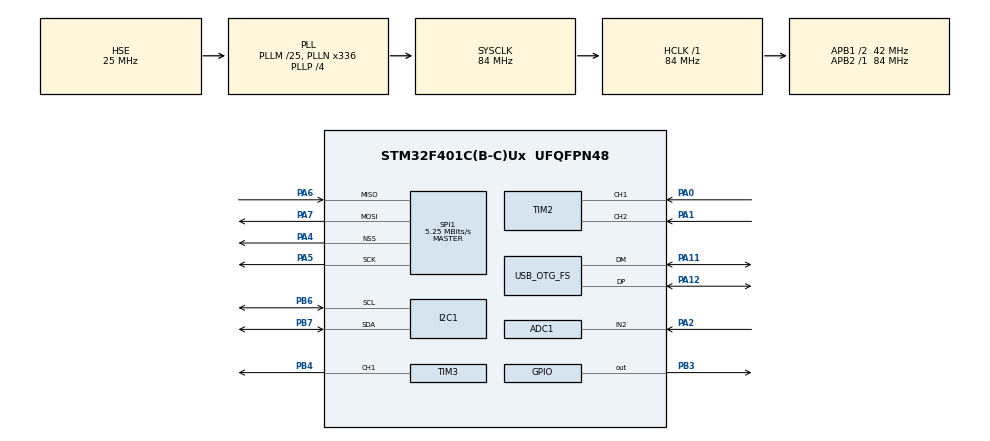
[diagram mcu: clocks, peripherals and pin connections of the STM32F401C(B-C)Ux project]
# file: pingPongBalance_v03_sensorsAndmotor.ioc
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ADC1.Channel-0\#ChannelRegularConversion=ADC_CHANNEL_2
ADC1.ContinuousConvMode=ENABLE
ADC1.DMAContinuousRequests=ENABLE
ADC1.EOCSelection=ADC_EOC_SEQ_CONV
ADC1.NbrOfConversion=1
ADC1.NbrOfConversionFlag=1
ADC1.Rank-0\#ChannelRegularConversion=1
ADC1.SamplingTime-0\#ChannelRegularConversion=ADC_SAMPLETIME_3CYCLES
ADC1.master=1
Dma.ADC1.0.Direction=DMA_PERIPH_TO_MEMORY
Dma.ADC1.0.FIFOMode=DMA_FIFOMODE_DISABLE
Dma.ADC1.0.Instance=DMA2_Stream0
Dma.ADC1.0.MemDataAlignment=DMA_MDATAALIGN_HALFWORD
Dma.ADC1.0.MemInc=DMA_MINC_ENABLE
Dma.ADC1.0.Mode=DMA_CIRCULAR
Dma.ADC1.0.PeriphDataAlignment=DMA_PDATAALIGN_HALFWORD
Dma.ADC1.0.PeriphInc=DMA_PINC_DISABLE
Dma.ADC1.0.Priority=DMA_PRIORITY_LOW
Dma.I2C1_TX.1.Direction=DMA_MEMORY_TO_PERIPH
Dma.I2C1_TX.1.FIFOMode=DMA_FIFOMODE_DISABLE
Dma.I2C1_TX.1.Instance=DMA1_Stream6
Dma.I2C1_TX.1.MemDataAlignment=DMA_MDATAALIGN_BYTE
Dma.I2C1_TX.1.MemInc=DMA_MINC_ENABLE
Dma.I2C1_TX.1.Mode=DMA_NORMAL
Dma.I2C1_TX.1.PeriphDataAlignment=DMA_PDATAALIGN_BYTE
Dma.I2C1_TX.1.PeriphInc=DMA_PINC_DISABLE
Dma.I2C1_TX.1.Priority=DMA_PRIORITY_LOW
Dma.Request0=ADC1
Dma.Request1=I2C1_TX
Dma.Request2=SPI1_RX
Dma.Request3=SPI1_TX
Dma.SPI1_RX.2.Direction=DMA_PERIPH_TO_MEMORY
Dma.SPI1_RX.2.FIFOMode=DMA_FIFOMODE_DISABLE
Dma.SPI1_RX.2.Instance=DMA2_Stream2
Dma.SPI1_RX.2.MemDataAlignment=DMA_MDATAALIGN_BYTE
Dma.SPI1_RX.2.MemInc=DMA_MINC_ENABLE
Dma.SPI1_RX.2.Mode=DMA_NORMAL
Dma.SPI1_RX.2.PeriphDataAlignment=DMA_PDATAALIGN_BYTE
Dma.SPI1_RX.2.PeriphInc=DMA_PINC_DISABLE
Dma.SPI1_RX.2.Priority=DMA_PRIORITY_LOW
Dma.SPI1_TX.3.Direction=DMA_MEMORY_TO_PERIPH
Dma.SPI1_TX.3.FIFOMode=DMA_FIFOMODE_DISABLE
Dma.SPI1_TX.3.Instance=DMA2_Stream3
Dma.SPI1_TX.3.MemDataAlignment=DMA_MDATAALIGN_BYTE
Dma.SPI1_TX.3.MemInc=DMA_MINC_ENABLE
Dma.SPI1_TX.3.Mode=DMA_NORMAL
Dma.SPI1_TX.3.PeriphDataAlignment=DMA_PDATAALIGN_BYTE
Dma.SPI1_TX.3.PeriphInc=DMA_PINC_DISABLE
Dma.SPI1_TX.3.Priority=DMA_PRIORITY_LOW
I2C1.I2C_Mode=I2C_Fast
Mcu.Family=STM32F4
Mcu.Name=STM32F401C(B-C)Ux
Mcu.Package=UFQFPN48
NVIC.ADC_IRQn=true\:0\:0\:false\:false\:true\:true\:true\:true
NVIC.DMA1_Stream6_IRQn=true\:0\:0\:false\:false\:true\:false\:true\:true
NVIC.DMA2_Stream0_IRQn=true\:0\:0\:false\:false\:true\:false\:true\:true
NVIC.DMA2_Stream2_IRQn=true\:0\:0\:false\:false\:true\:false\:true\:true
NVIC.DMA2_Stream3_IRQn=true\:0\:0\:false\:false\:true\:false\:true\:true
NVIC.I2C1_EV_IRQn=true\:0\:0\:false\:false\:true\:true\:true\:true
NVIC.OTG_FS_IRQn=true\:0\:0\:false\:false\:true\:false\:true\:true
NVIC.PriorityGroup=NVIC_PRIORITYGROUP_4
NVIC.SPI1_IRQn=true\:0\:0\:false\:false\:true\:true\:true\:true
NVIC.TIM1_TRG_COM_TIM11_IRQn=true\:15\:0\:false\:false\:true\:false\:true\:true
NVIC.TIM1_UP_TIM10_IRQn=true\:0\:0\:false\:false\:true\:true\:true\:true
NVIC.TimeBase=TIM1_TRG_COM_TIM11_IRQn
NVIC.TimeBaseIP=TIM11
PA0-WKUP.Signal=S_TIM2_CH1_ETR
PA1.Signal=S_TIM2_CH2
PA11.Mode=Device_Only
PA11.Signal=USB_OTG_FS_DM
PA12.Mode=Device_Only
PA12.Signal=USB_OTG_FS_DP
PA2.Signal=SharedAnalog_PA2
PA4.Mode=NSS_Signal_Hard_Output
PA4.Signal=SPI1_NSS
PA5.Mode=Full_Duplex_Master
PA5.Signal=SPI1_SCK
PA6.Mode=Full_Duplex_Master
PA6.Signal=SPI1_MISO
PA7.Mode=Full_Duplex_Master
PA7.Signal=SPI1_MOSI
PB3.Signal=GPIO_Output
PB4.Signal=S_TIM3_CH1
PB6.Mode=I2C
PB6.Signal=I2C1_SCL
PB7.Mode=I2C
PB7.Signal=I2C1_SDA
PC14-OSC32_IN.Mode=LSE-External-Oscillator
PC14-OSC32_IN.Signal=RCC_OSC32_IN
PC15-OSC32_OUT.Mode=LSE-External-Oscillator
PC15-OSC32_OUT.Signal=RCC_OSC32_OUT
PH0\ -\ OSC_IN.Mode=HSE-External-Oscillator
PH0\ -\ OSC_IN.Signal=RCC_OSC_IN
PH1\ -\ OSC_OUT.Mode=HSE-External-Oscillator
PH1\ -\ OSC_OUT.Signal=RCC_OSC_OUT
ProjectManager.HeapSize=0x200
ProjectManager.StackSize=0x400
ProjectManager.TargetToolchain=STM32CubeIDE
RCC.48MHZClocksFreq_Value=48000000
RCC.AHBFreq_Value=84000000
RCC.APB1CLKDivider=RCC_HCLK_DIV2
RCC.APB1Freq_Value=42000000
RCC.APB1TimFreq_Value=84000000
RCC.APB2Freq_Value=84000000
RCC.APB2TimFreq_Value=84000000
RCC.CortexFreq_Value=84000000
RCC.HCLKFreq_Value=84000000
RCC.HSE_VALUE=25000000
RCC.HSI_VALUE=16000000
RCC.PLLM=25
RCC.PLLN=336
RCC.PLLP=RCC_PLLP_DIV4
RCC.PLLQ=7
RCC.RCC_RTC_Clock_Source=RCC_RTCCLKSOURCE_LSE
RCC.RCC_RTC_Clock_SourceVirtual=RCC_RTCCLKSOURCE_LSE
RCC.SYSCLKFreq_VALUE=84000000
RCC.SYSCLKSource=RCC_SYSCLKSOURCE_PLLCLK
RCC.VCOOutputFreq_Value=336000000
SH.S_TIM2_CH1_ETR.0=TIM2_CH1,Encoder_Interface
SH.S_TIM2_CH2.0=TIM2_CH2,Encoder_Interface
SH.S_TIM3_CH1.0=TIM3_CH1,PWM Generation1 CH1
SH.SharedAnalog_PA2.0=GPIO_Analog
SH.SharedAnalog_PA2.1=ADC1_IN2,IN2
SPI1.BaudRatePrescaler=SPI_BAUDRATEPRESCALER_16
SPI1.CalculateBaudRate=5.25 MBits/s
SPI1.Direction=SPI_DIRECTION_2LINES
SPI1.Mode=SPI_MODE_MASTER
SPI1.VirtualNSS=VM_NSSHARD
SPI1.VirtualType=VM_MASTER
TIM10.Period=41999
TIM3.Channel-PWM\ Generation1\ CH1=TIM_CHANNEL_1
TIM3.Period=4199
USB_DEVICE.CLASS_NAME_FS=CDC
USB_DEVICE.VirtualMode=Cdc
USB_DEVICE.VirtualModeFS=Cdc_FS
USB_OTG_FS.VirtualMode=Device_Only
VP_CRC_VS_CRC.Mode=CRC_Activate
VP_SYS_VS_tim11.Mode=TIM11
VP_TIM10_VS_ClockSourceINT.Mode=Enable_Timer
VP_USB_DEVICE_VS_USB_DEVICE_CDC_FS.Mode=CDC_FS
board=custom

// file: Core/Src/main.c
/* USER CODE BEGIN Header */
/**
  ******************************************************************************
  * @file           : main.c
  * @brief          : Main program body
  ******************************************************************************
  * @attention
  *
  * Copyright (c) 2025 STMicroelectronics.
  * All rights reserved.
  *
  * This software is licensed under terms that can be found in the LICENSE file
  * in the root directory of this software component.
  * If no LICENSE file comes with this software, it is provided AS-IS.
  *
  ******************************************************************************
  */
/* USER CODE END Header */
#include "main.h"
#include "usb_device.h"

/* USER CODE BEGIN Includes */
#include "dist_adc.h"
#include "ssd1306.h"
#include "fonts.h"
#include "mt6816.h"
#include "encoder_speed.h"
#include "motor_driver.h"
#include "virtual_wall.h"
#include <math.h>
#include "usbd_cdc_if.h"
#include "pid.h"
#include "usb_telemetry.h"
/* USER CODE END Includes */

/* USER CODE BEGIN PD */
extern uint8_t CDC_Transmit(const void* Buf, uint32_t Len);
/* USER CODE END PD */

ADC_HandleTypeDef hadc1;
DMA_HandleTypeDef hdma_adc1;

CRC_HandleTypeDef hcrc;

I2C_HandleTypeDef hi2c1;
DMA_HandleTypeDef hdma_i2c1_tx;

SPI_HandleTypeDef hspi1;
DMA_HandleTypeDef hdma_spi1_rx;
DMA_HandleTypeDef hdma_spi1_tx;

TIM_HandleTypeDef htim2;
TIM_HandleTypeDef htim3;
TIM_HandleTypeDef htim10;

void SystemClock_Config(void);
static void MX_GPIO_Init(void);
static void MX_DMA_Init(void);
static void MX_CRC_Init(void);
static void MX_I2C1_Init(void);
static void MX_SPI1_Init(void);
static void MX_TIM2_Init(void);
static void MX_TIM3_Init(void);
static void MX_ADC1_Init(void);
static void MX_TIM10_Init(void);

/* USER CODE BEGIN 0 */
#define ANGLE_MIN_DEG   -25.0f
#define ANGLE_MAX_DEG    25.0f
#define MOTOR_TO_ANGLE_SIGN   (+1)
MotorDriver_HandleTypeDef motor;

EncoderSpeed_Handle_t enc;
uint16_t mt6816_zero = 8344 & 0x3FFF; //Set Zero position here
MT6816_Handle_t mt6816;

#define ADC_DMA_LEN  64
static uint16_t adc_dma_buf[ADC_DMA_LEN];
static AdcDistance_t adcDist;

PID_TypeDef pidAng;

static const float DEFAULT_ANG_KP = 0.02115f;
static const float DEFAULT_ANG_KI = 0.02104f;
static const float DEFAULT_ANG_KD = 0.0001710f;

static float x_prev = 0.0f;
static float xdot_f = 0.0f;

static float th_prev = 0.0f;
static float thdot_f = 0.0f;

// derivative LPF strength (0..1). Higher = more responsive, noisier.
static const float DERIV_ALPHA = 0.25f;
static const float DT = 0.01f; // 10 ms tick

// Inner PID (angle)
double ang_in = 0.0, ang_out = 0.0, ang_sp = 0.0;  // ang_out = motor cmd [-1..+1]

// Start gains (tune later)
static double Kp_ang = DEFAULT_ANG_KP, Ki_ang = DEFAULT_ANG_KI, Kd_ang = DEFAULT_ANG_KD;   // degrees -> cmd

int findCharPosition(const char *buffer, size_t size, char character) {
    for (size_t i = 0; i < size; ++i) {
        if (buffer[i] == character) {
            return (int)i;
        }
    }
    return -1; // '\r' not found
}

void USB_CDC_RxHandler(uint8_t* buf, uint32_t len)
{
	USB_Command_Process(buf, len);
}

void HAL_I2C_MemTxCpltCallback(I2C_HandleTypeDef *hi2c) {
    ssd1306_I2C_TxCpltCallback(hi2c);
}

static void OLED_Render(float V, float P, float A, float R)
{
    char buf[32];

    ssd1306_Fill(Black);

    // Title
    ssd1306_SetCursor(0, 0);
    ssd1306_WriteString("Ball Beam", Font_11x18, White);

    // Second line: V
    ssd1306_SetCursor(0, 16);
    snprintf(buf, sizeof(buf), "V = %.3f V", V);
    ssd1306_WriteString(buf, Font_7x10, White);

    // Third line: P
    ssd1306_SetCursor(0, 28);
    snprintf(buf, sizeof(buf), "P = %.3f", P);
    ssd1306_WriteString(buf, Font_7x10, White);

    // Fourth line: A
    ssd1306_SetCursor(0, 40);
    snprintf(buf, sizeof(buf), "A = %.3f deg", A);
    ssd1306_WriteString(buf, Font_7x10, White);

    // Fifth line: R
    ssd1306_SetCursor(0, 52);
    snprintf(buf, sizeof(buf), "R = %.3f rad/s", R);
    ssd1306_WriteString(buf, Font_7x10, White);

    // Start non-blocking DMA flush (returns immediately)
    (void)ssd1306_UpdateScreen_DMA(&hi2c1);
}

void HAL_SPI_TxRxCpltCallback(SPI_HandleTypeDef * hspi)
{
//		absEnc_spiDone = 1;// TX-RX Done
		MT6816_SpiTxRxCpltCallback(&mt6816, hspi);
}

int32_t MT6816_GetZeroed_Int32(uint16_t raw14)
{
    // 1) Force to 14-bit
    uint16_t raw = raw14 & 0x3FFF;

    // 2) Zero with wrap in 14 bits
    uint16_t z = (raw - mt6816_zero) & 0x3FFF;   // 0..16383

    // 3) Convert to signed around 0
    //    0..8191  ->  0..8191
    //    8192..16383 -> -8192..-1
    if (z >= 8192U)
        return (int32_t)z - 16384;   // 16384 = 1 << 14
    else
        return (int32_t)z;
}
/* USER CODE END 0 */

int main(void)
{

  /* MCU Configuration--------------------------------------------------------*/

  /* Reset of all peripherals, Initializes the Flash interface and the Systick. */
  HAL_Init();

  /* Configure the system clock */
  SystemClock_Config();

  /* Initialize all configured peripherals */
  MX_GPIO_Init();
  MX_DMA_Init();
  MX_CRC_Init();
  MX_USB_DEVICE_Init();
  MX_I2C1_Init();
  MX_SPI1_Init();
  MX_TIM2_Init();
  MX_TIM3_Init();
  MX_ADC1_Init();
  MX_TIM10_Init();
  /* USER CODE BEGIN 2 */
  //Motor driver init
  uint32_t period = __HAL_TIM_GET_AUTORELOAD(&htim3);
  MotorDriver_Init(&motor,
                   &htim3,
                   TIM_CHANNEL_1,
                   GPIOB,
                   GPIO_PIN_3,
                   period,
                   GPIO_PIN_RESET);   // "forward" = pin low
  MotorDriver_Start(&motor);

  //Timer encoder counter init
  HAL_TIM_Encoder_Start(&htim2, TIM_CHANNEL_ALL);
  EncoderSpeed_Init(&enc, &htim2,
                        98u,      // counts_per_rev
                        14.0f,      // gear_ratio
                        0.001f);    // dt_s (TIM10 period)
  EncoderSpeed_SetLowPass(&enc, 2.0f);     // Hz cutoff
  HAL_TIM_Base_Start_IT(&htim10);

  //Abs enc command building
  MT6816_Init(&mt6816, &hspi1, 5);

  // Init lcd using one of the stm32HAL i2c typedefs
  if (ssd1306_Init(&hi2c1) != 0) {
    Error_Handler();
  }
  HAL_Delay(1000);

  ssd1306_Fill(Black);
  if (!ssd1306_IsBusy()) {
      // draw text into SSD1306_Buffer...
      ssd1306_UpdateScreen_DMA(&hi2c1);
  }

  HAL_Delay(1000);

  // Preset scaling:
  // we want distance = 0..1 over that window, inverted (near=1, far=0), with mild nonlinearity.

  AdcDist_Init(&adcDist, &hadc1,
               adc_dma_buf, ADC_DMA_LEN,
			   /* v_ref */ 3.3f,
			   /* adc_bits */ 12,
               /* v_low */ 0.64f,
               /* v_mid */ 1.84f,   // if not between low & high, it will auto-set to midpoint
               /* v_high*/ 2.97f,
               /* invert */ 0,
               /* gamma  */ 1.0f,
               /* compute_period_ms (unused) */ 0);
  AdcDist_SetFilterAlpha(&adcDist, 0.1);
//  AdcDist_SetMedianWindow(&adcDist, 5);
  AdcDist_Start(&adcDist);

  // Inner: angle -> motor command [-1..+1]

  g_ang_kp = DEFAULT_ANG_KP;
  g_ang_ki = DEFAULT_ANG_KI;
  g_ang_kd = DEFAULT_ANG_KD;

  PID2(&pidAng,
       &ang_in,
       &ang_out,
       &ang_sp,
       Kp_ang, Ki_ang, Kd_ang,
       _PID_CD_DIRECT);

  PID_SetOutputLimits(&pidAng, -1.0, 1.0);  // start limited while tuning
  pidAng.SampleTime = 10;                     // inner faster (100 Hz)
  PID_SetMode(&pidAng, _PID_MODE_AUTOMATIC);

  // Targets
  ang_sp = 0.0;

  uint32_t last_print = HAL_GetTick();
  uint32_t last_motorStep = HAL_GetTick();
  /* USER CODE END 2 */

  /* Infinite loop */
  while (1)
  {

    /* USER CODE BEGIN 3 */
    uint32_t now = HAL_GetTick();
//    AdcDist_Update(&adcDist);
    MT6816_Update(&mt6816, now);
    /////////////////////////////

    if (now - last_print >= 20)
    {

	  last_print = now;
	  float v = AdcDist_GetVoltage(&adcDist);
	  float d = 2*AdcDist_GetDistance(&adcDist)-1; //0-1, scaled to -1 to 1;

	  uint16_t A_raw;
	  MT6816_GetRaw(&mt6816, &A_raw);
	  float A = MT6816_GetZeroed_Int32(A_raw)*(360.0/16384.0);

	  float r = EncoderSpeed_GetOutputRadPerSecFilt(&enc);

	  if (!ssd1306_IsBusy()) {
	      OLED_Render(v, d, A, r);
	  }

    }
    if (now - last_motorStep >= 10)
    {
    	last_motorStep = now;
    	uint8_t buf[64];
    	// ---- 1) Update sensors ----
    	AdcDist_Update(&adcDist);
    	float x_norm = 2.0f * AdcDist_GetDistance(&adcDist) - 1.0f;  // [-1..+1]
    	float x_m    = -0.1375f * x_norm;                               // [-0.15..+0.15] meters (sign convention changed)

    	// ---- 2) Beam angle ----
    	uint16_t A_raw;
    	MT6816_GetRaw(&mt6816, &A_raw);
    	float th_deg = MT6816_GetZeroed_Int32(A_raw) * (360.0f / 16384.0f);

    	// ---- 3) Velocities (dirty derivative + LPF) ----
    	float xdot = (x_m - x_prev) / DT;     // <-- use meters
    	xdot_f = xdot_f + DERIV_ALPHA * (xdot - xdot_f);
    	x_prev = x_m;

    	float thdot_deg = (th_deg - th_prev) / DT;
    	thdot_f = thdot_f + DERIV_ALPHA * (thdot_deg - thdot_f);
    	th_prev = th_deg;

    	// ---- 4) Get latest RL command (timeout safety) ----
    	extern volatile float g_thsp_cmd;
    	extern volatile uint32_t g_thsp_cmd_ms;

    	ang_sp = (float)g_thsp_cmd;

    	float w_rad_s = EncoderSpeed_GetOutputRadPerSecFilt(&enc);
    	float w_deg_s = w_rad_s * 57.2957795f;

    	int len = snprintf((char*)buf, sizeof(buf),
    	      "X:%.4f,XD:%.4f,TH:%.3f,THD:%.3f,W:%.3f,ANG:%.3f\n",
    	      x_m, xdot_f, th_deg, thdot_f, w_deg_s, (float)g_thsp_cmd);

    	CDC_Transmit_FS(buf, (uint16_t)len);

    	// timeout: if PC stops sending, motor -> 0
    	if ((HAL_GetTick() - g_thsp_cmd_ms) > 100) {   // 100 ms
    	    ang_sp = 0.0f;
    	}

    	// Safety clamp
		if (ang_sp > ANGLE_MAX_DEG) ang_sp = ANGLE_MAX_DEG;
		if (ang_sp < ANGLE_MIN_DEG) ang_sp = ANGLE_MIN_DEG;

		// ---- 6) INNER loop input ----
		ang_in = (double)th_deg;

//		// ---- 7) Update INNER tunings if changed ----
//		static float last_ang_kp = -1.0f, last_ang_ki = -1.0f, last_ang_kd = -1.0f;
//		if (g_ang_kp != last_ang_kp || g_ang_ki != last_ang_ki || g_ang_kd != last_ang_kd)
//		{
//			last_ang_kp = g_ang_kp;
//			last_ang_ki = g_ang_ki;
//			last_ang_kd = g_ang_kd;
//
//			PID_SetTunings(&pidAng, g_ang_kp, g_ang_ki, g_ang_kd);
//
//			// If inner gains all zero, clear memory + force output 0
//			if (fabsf(g_ang_kp) < 1e-6f && fabsf(g_ang_ki) < 1e-6f && fabsf(g_ang_kd) < 1e-6f)
//			{
//				pidAng.OutputSum = 0.0;
//				pidAng.LastInput = ang_in;
//				ang_out = 0.0;
//			}
//		}

		static uint32_t boot_t0 = 0;
		static uint8_t pid_enabled = 0;

		if (boot_t0 == 0) boot_t0 = HAL_GetTick();

		uint32_t elapsed = HAL_GetTick() - boot_t0;

		if (!pid_enabled)
		{
			// keep motor safe
			MotorDriver_SetSpeed(&motor, 0.0f);

			// keep PID state aligned (prevents kick later)
			pidAng.OutputSum = 0.0f;
			pidAng.LastInput = ang_in;

			if (elapsed >= 5000)
			{
				PID_SetTunings(&pidAng, g_ang_kp, g_ang_ki, g_ang_kd);

				pidAng.OutputSum = 0.0;
				pidAng.LastInput = ang_in;
				pid_enabled = 1;
			}
		}
		else
		{
			// ---- 8) Compute INNER and drive motor ----
			if (PID_Compute(&pidAng))
			{
				float cmd = (float)ang_out;   // expected in [-1..+1] if pidAng limits are set that way

				float safe_cmd = VirtualWall_Apply(cmd,
												   th_deg,
												   ANGLE_MIN_DEG,
												   ANGLE_MAX_DEG,
												   MOTOR_TO_ANGLE_SIGN);

				// If wall clamps to zero while we are trying to push, kill integrators & brake
				if (safe_cmd == 0.0f && cmd != 0.0f)
				{
					pidAng.OutputSum = 0.0;
					pidAng.LastInput = ang_in;

					float w = EncoderSpeed_GetOutputRadPerSecFilt(&enc);
					float brake = -0.2f * w;
					if (brake >  1.0f) brake =  1.0f;
					if (brake < -1.0f) brake = -1.0f;
					MotorDriver_SetSpeed(&motor, brake);
				}
				else
				{
					MotorDriver_SetSpeed(&motor, safe_cmd);
				}
			}
			else
			{
				// Optional: if PID didn't compute this tick, keep applying last command or do nothing
				// MotorDriver_SetSpeed(&motor, last_cmd);
			}
		}

//    	// ---- 5) Apply virtual wall clamp (keep hardware safe) ----
//    	float safe_cmd = VirtualWall_Apply(u, th_deg, ANGLE_MIN_DEG, ANGLE_MAX_DEG, MOTOR_TO_ANGLE_SIGN);
//
//    	if (safe_cmd == 0.0f && u != 0.0f)
//		{
//
//			float w = EncoderSpeed_GetOutputRadPerSecFilt(&enc);
//			float brake = -0.2f * w;
//			if (brake >  1.0f) brake =  1.0f;
//			if (brake < -1.0f) brake = -1.0f;
//			MotorDriver_SetSpeed(&motor, brake);
//		}
//		else
//		{
//			MotorDriver_SetSpeed(&motor, safe_cmd);
//		}

    }
  }
  /* USER CODE END 3 */
}

void SystemClock_Config(void)
{
  RCC_OscInitTypeDef RCC_OscInitStruct = {0};
  RCC_ClkInitTypeDef RCC_ClkInitStruct = {0};

  /** Configure the main internal regulator output voltage
  */
  __HAL_RCC_PWR_CLK_ENABLE();
  __HAL_PWR_VOLTAGESCALING_CONFIG(PWR_REGULATOR_VOLTAGE_SCALE2);

  /** Initializes the RCC Oscillators according to the specified parameters
  * in the RCC_OscInitTypeDef structure.
  */
  RCC_OscInitStruct.OscillatorType = RCC_OSCILLATORTYPE_HSE;
  RCC_OscInitStruct.HSEState = RCC_HSE_ON;
  RCC_OscInitStruct.PLL.PLLState = RCC_PLL_ON;
  RCC_OscInitStruct.PLL.PLLSource = RCC_PLLSOURCE_HSE;
  RCC_OscInitStruct.PLL.PLLM = 25;
  RCC_OscInitStruct.PLL.PLLN = 336;
  RCC_OscInitStruct.PLL.PLLP = RCC_PLLP_DIV4;
  RCC_OscInitStruct.PLL.PLLQ = 7;
  if (HAL_RCC_OscConfig(&RCC_OscInitStruct) != HAL_OK)
  {
    Error_Handler();
  }

  /** Initializes the CPU, AHB and APB buses clocks
  */
  RCC_ClkInitStruct.ClockType = RCC_CLOCKTYPE_HCLK|RCC_CLOCKTYPE_SYSCLK
                              |RCC_CLOCKTYPE_PCLK1|RCC_CLOCKTYPE_PCLK2;
  RCC_ClkInitStruct.SYSCLKSource = RCC_SYSCLKSOURCE_PLLCLK;
  RCC_ClkInitStruct.AHBCLKDivider = RCC_SYSCLK_DIV1;
  RCC_ClkInitStruct.APB1CLKDivider = RCC_HCLK_DIV2;
  RCC_ClkInitStruct.APB2CLKDivider = RCC_HCLK_DIV1;

  if (HAL_RCC_ClockConfig(&RCC_ClkInitStruct, FLASH_LATENCY_2) != HAL_OK)
  {
    Error_Handler();
  }
}

static void MX_ADC1_Init(void)
{

  ADC_ChannelConfTypeDef sConfig = {0};

  /** Configure the global features of the ADC (Clock, Resolution, Data Alignment and number of conversion)
  */
  hadc1.Instance = ADC1;
  hadc1.Init.ClockPrescaler = ADC_CLOCK_SYNC_PCLK_DIV4;
  hadc1.Init.Resolution = ADC_RESOLUTION_12B;
  hadc1.Init.ScanConvMode = DISABLE;
  hadc1.Init.ContinuousConvMode = ENABLE;
  hadc1.Init.DiscontinuousConvMode = DISABLE;
  hadc1.Init.ExternalTrigConvEdge = ADC_EXTERNALTRIGCONVEDGE_NONE;
  hadc1.Init.ExternalTrigConv = ADC_SOFTWARE_START;
  hadc1.Init.DataAlign = ADC_DATAALIGN_RIGHT;
  hadc1.Init.NbrOfConversion = 1;
  hadc1.Init.DMAContinuousRequests = ENABLE;
  hadc1.Init.EOCSelection = ADC_EOC_SEQ_CONV;
  if (HAL_ADC_Init(&hadc1) != HAL_OK)
  {
    Error_Handler();
  }

  /** Configure for the selected ADC regular channel its corresponding rank in the sequencer and its sample time.
  */
  sConfig.Channel = ADC_CHANNEL_2;
  sConfig.Rank = 1;
  sConfig.SamplingTime = ADC_SAMPLETIME_3CYCLES;
  if (HAL_ADC_ConfigChannel(&hadc1, &sConfig) != HAL_OK)
  {
    Error_Handler();
  }

}

static void MX_CRC_Init(void)
{

  hcrc.Instance = CRC;
  if (HAL_CRC_Init(&hcrc) != HAL_OK)
  {
    Error_Handler();
  }

}

static void MX_I2C1_Init(void)
{

  hi2c1.Instance = I2C1;
  hi2c1.Init.ClockSpeed = 400000;
  hi2c1.Init.DutyCycle = I2C_DUTYCYCLE_2;
  hi2c1.Init.OwnAddress1 = 0;
  hi2c1.Init.AddressingMode = I2C_ADDRESSINGMODE_7BIT;
  hi2c1.Init.DualAddressMode = I2C_DUALADDRESS_DISABLE;
  hi2c1.Init.OwnAddress2 = 0;
  hi2c1.Init.GeneralCallMode = I2C_GENERALCALL_DISABLE;
  hi2c1.Init.NoStretchMode = I2C_NOSTRETCH_DISABLE;
  if (HAL_I2C_Init(&hi2c1) != HAL_OK)
  {
    Error_Handler();
  }

}

static void MX_SPI1_Init(void)
{

  /* SPI1 parameter configuration*/
  hspi1.Instance = SPI1;
  hspi1.Init.Mode = SPI_MODE_MASTER;
  hspi1.Init.Direction = SPI_DIRECTION_2LINES;
  hspi1.Init.DataSize = SPI_DATASIZE_8BIT;
  hspi1.Init.CLKPolarity = SPI_POLARITY_LOW;
  hspi1.Init.CLKPhase = SPI_PHASE_1EDGE;
  hspi1.Init.NSS = SPI_NSS_HARD_OUTPUT;
  hspi1.Init.BaudRatePrescaler = SPI_BAUDRATEPRESCALER_16;
  hspi1.Init.FirstBit = SPI_FIRSTBIT_MSB;
  hspi1.Init.TIMode = SPI_TIMODE_DISABLE;
  hspi1.Init.CRCCalculation = SPI_CRCCALCULATION_DISABLE;
  hspi1.Init.CRCPolynomial = 10;
  if (HAL_SPI_Init(&hspi1) != HAL_OK)
  {
    Error_Handler();
  }

}

static void MX_TIM2_Init(void)
{

  TIM_Encoder_InitTypeDef sConfig = {0};
  TIM_MasterConfigTypeDef sMasterConfig = {0};

  htim2.Instance = TIM2;
  htim2.Init.Prescaler = 0;
  htim2.Init.CounterMode = TIM_COUNTERMODE_UP;
  htim2.Init.Period = 4294967295;
  htim2.Init.ClockDivision = TIM_CLOCKDIVISION_DIV1;
  htim2.Init.AutoReloadPreload = TIM_AUTORELOAD_PRELOAD_DISABLE;
  sConfig.EncoderMode = TIM_ENCODERMODE_TI1;
  sConfig.IC1Polarity = TIM_ICPOLARITY_RISING;
  sConfig.IC1Selection = TIM_ICSELECTION_DIRECTTI;
  sConfig.IC1Prescaler = TIM_ICPSC_DIV1;
  sConfig.IC1Filter = 0;
  sConfig.IC2Polarity = TIM_ICPOLARITY_RISING;
  sConfig.IC2Selection = TIM_ICSELECTION_DIRECTTI;
  sConfig.IC2Prescaler = TIM_ICPSC_DIV1;
  sConfig.IC2Filter = 0;
  if (HAL_TIM_Encoder_Init(&htim2, &sConfig) != HAL_OK)
  {
    Error_Handler();
  }
  sMasterConfig.MasterOutputTrigger = TIM_TRGO_RESET;
  sMasterConfig.MasterSlaveMode = TIM_MASTERSLAVEMODE_DISABLE;
  if (HAL_TIMEx_MasterConfigSynchronization(&htim2, &sMasterConfig) != HAL_OK)
  {
    Error_Handler();
  }

}

static void MX_TIM3_Init(void)
{

  TIM_MasterConfigTypeDef sMasterConfig = {0};
  TIM_OC_InitTypeDef sConfigOC = {0};

  htim3.Instance = TIM3;
  htim3.Init.Prescaler = 0;
  htim3.Init.CounterMode = TIM_COUNTERMODE_UP;
  htim3.Init.Period = 4199;
  htim3.Init.ClockDivision = TIM_CLOCKDIVISION_DIV1;
  htim3.Init.AutoReloadPreload = TIM_AUTORELOAD_PRELOAD_DISABLE;
  if (HAL_TIM_PWM_Init(&htim3) != HAL_OK)
  {
    Error_Handler();
  }
  sMasterConfig.MasterOutputTrigger = TIM_TRGO_RESET;
  sMasterConfig.MasterSlaveMode = TIM_MASTERSLAVEMODE_DISABLE;
  if (HAL_TIMEx_MasterConfigSynchronization(&htim3, &sMasterConfig) != HAL_OK)
  {
    Error_Handler();
  }
  sConfigOC.OCMode = TIM_OCMODE_PWM1;
  sConfigOC.Pulse = 0;
  sConfigOC.OCPolarity = TIM_OCPOLARITY_HIGH;
  sConfigOC.OCFastMode = TIM_OCFAST_DISABLE;
  if (HAL_TIM_PWM_ConfigChannel(&htim3, &sConfigOC, TIM_CHANNEL_1) != HAL_OK)
  {
    Error_Handler();
  }
  HAL_TIM_MspPostInit(&htim3);

}

static void MX_TIM10_Init(void)
{

  htim10.Instance = TIM10;
  htim10.Init.Prescaler = 0;
  htim10.Init.CounterMode = TIM_COUNTERMODE_UP;
  htim10.Init.Period = 41999;
  htim10.Init.ClockDivision = TIM_CLOCKDIVISION_DIV1;
  htim10.Init.AutoReloadPreload = TIM_AUTORELOAD_PRELOAD_DISABLE;
  if (HAL_TIM_Base_Init(&htim10) != HAL_OK)
  {
    Error_Handler();
  }

}

static void MX_DMA_Init(void)
{

  /* DMA controller clock enable */
  __HAL_RCC_DMA2_CLK_ENABLE();
  __HAL_RCC_DMA1_CLK_ENABLE();

  /* DMA interrupt init */
  /* DMA1_Stream6_IRQn interrupt configuration */
  HAL_NVIC_SetPriority(DMA1_Stream6_IRQn, 0, 0);
  HAL_NVIC_EnableIRQ(DMA1_Stream6_IRQn);
  /* DMA2_Stream0_IRQn interrupt configuration */
  HAL_NVIC_SetPriority(DMA2_Stream0_IRQn, 0, 0);
  HAL_NVIC_EnableIRQ(DMA2_Stream0_IRQn);
  /* DMA2_Stream2_IRQn interrupt configuration */
  HAL_NVIC_SetPriority(DMA2_Stream2_IRQn, 0, 0);
  HAL_NVIC_EnableIRQ(DMA2_Stream2_IRQn);
  /* DMA2_Stream3_IRQn interrupt configuration */
  HAL_NVIC_SetPriority(DMA2_Stream3_IRQn, 0, 0);
  HAL_NVIC_EnableIRQ(DMA2_Stream3_IRQn);

}

static void MX_GPIO_Init(void)
{
  GPIO_InitTypeDef GPIO_InitStruct = {0};

  /* GPIO Ports Clock Enable */
  __HAL_RCC_GPIOC_CLK_ENABLE();
  __HAL_RCC_GPIOH_CLK_ENABLE();
  __HAL_RCC_GPIOA_CLK_ENABLE();
  __HAL_RCC_GPIOB_CLK_ENABLE();

  /*Configure GPIO pin Output Level */
  HAL_GPIO_WritePin(GPIOB, GPIO_PIN_3, GPIO_PIN_RESET);

  /*Configure GPIO pin : PB3 */
  GPIO_InitStruct.Pin = GPIO_PIN_3;
  GPIO_InitStruct.Mode = GPIO_MODE_OUTPUT_PP;
  GPIO_InitStruct.Pull = GPIO_NOPULL;
  GPIO_InitStruct.Speed = GPIO_SPEED_FREQ_LOW;
  HAL_GPIO_Init(GPIOB, &GPIO_InitStruct);

}

void HAL_TIM_PeriodElapsedCallback(TIM_HandleTypeDef *htim)
{
  /* USER CODE BEGIN Callback 0 */
  if (htim->Instance == TIM10)   // TIM10 update event
  {
      EncoderSpeed_Update(&enc);
      AdcDist_Update(&adcDist);
  }
  /* USER CODE END Callback 0 */
  if (htim->Instance == TIM11)
  {
    HAL_IncTick();
  }
}

void Error_Handler(void)
{
  __disable_irq();
  while (1)
  {
  }
}
